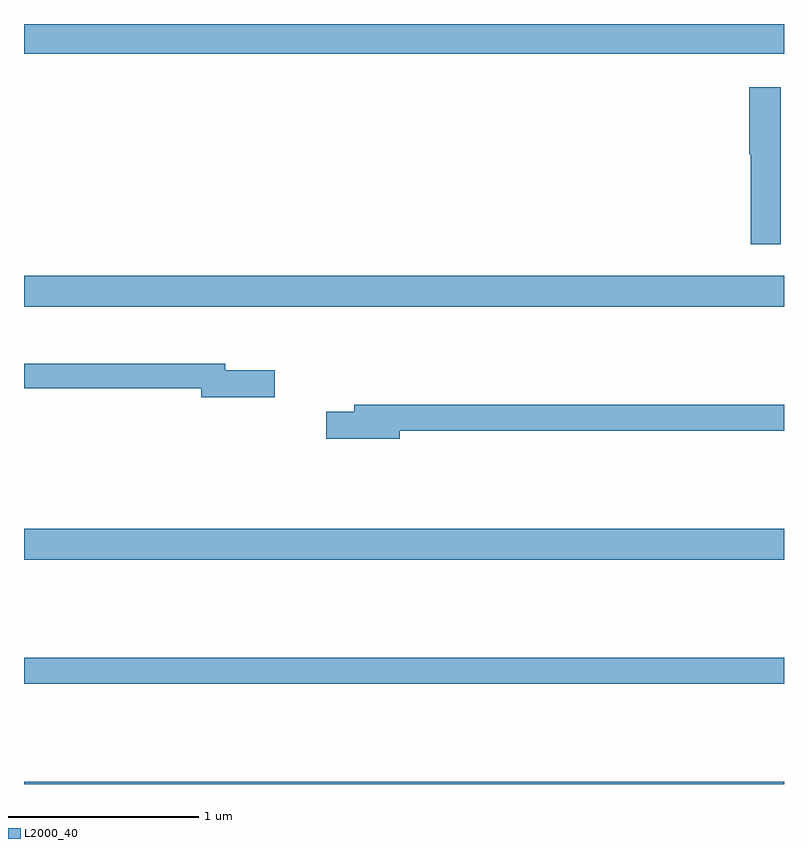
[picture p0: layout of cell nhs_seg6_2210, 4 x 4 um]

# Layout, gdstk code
import gdstk
lib = gdstk.Library(unit=1e-6, precision=1e-09)
def R(c, l, rs):  # rectangles x0, y0, x1, y1
    for r in rs: c.add(gdstk.rectangle(r[:2], r[2:], *l))
def P(c, l, *ps):  # polygons
    for p in ps: c.add(gdstk.Polygon(p, *l))
L2000_40 = (2000, 40)

nhs_seg6_2210 = lib.new_cell('nhs_seg6_2210')
R(nhs_seg6_2210, L2000_40, [(243,935.5,247,935.512), (243,936.028,247,936.164), (243,936.68,247,936.844), (243,938.012,247,938.176), (243,939.344,247,939.5)])
P(nhs_seg6_2210, L2000_40, [(246.982,939.166),(246.818,939.166),(246.818,938.814),(246.824,938.814),(246.824,938.34),(246.982,938.34)],
  [(244.321,937.677),(244.06,937.677),(244.06,937.711),(243,937.711),(243,937.582),(243.932,937.582),(243.932,937.535),(244.321,937.535)],
  [(244.978,937.36),(247,937.36),(247,937.496),(244.739,937.496),(244.739,937.46),(244.59,937.46),(244.59,937.318),(244.978,937.318)])

lib.write_gds('nhs_seg6_2210.gds')
